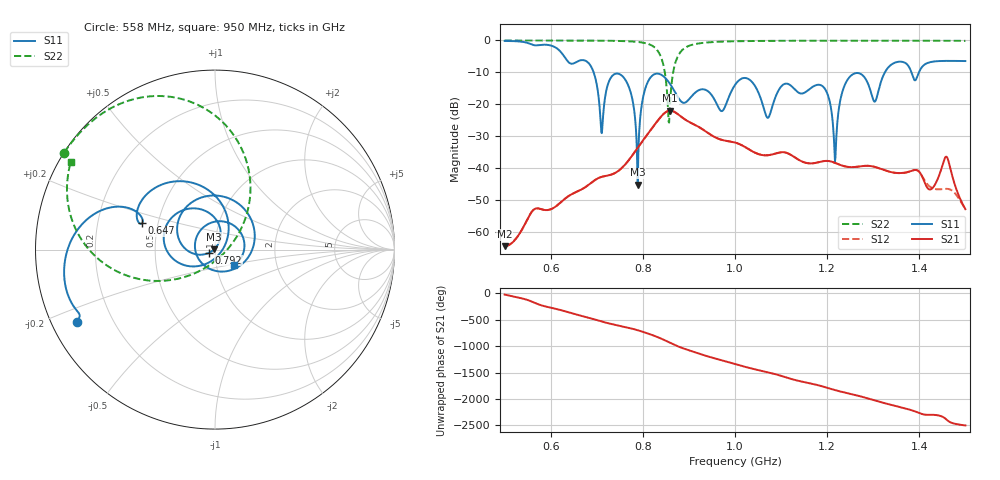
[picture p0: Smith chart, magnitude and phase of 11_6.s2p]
! TOUCHSTONE file generated by CST MICROWAVE STUDIO
! Date and time: Tue Nov 17 07:11:23 2020
! Project name: Scenario_1_Planar_Body_Tissue_Out_of_Line.cst
! Header version: 2018
! Port assignment regex: !\s*Touchstone port\s*([0-9]+)\s*=\s*(CST MWS port|CST DS port)\s*([0-9]+|Zmin|Zmax)\s*\(\"(.*)\"\)(\s*mode\s*([0-9]+))?.*
! Touchstone port assignment:
! Touchstone port 1 = CST MWS port 1 ("")
! Touchstone port 2 = CST MWS port 2 ("")
# GHz S DB R 50
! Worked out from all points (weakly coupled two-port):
!   1003 points, 500 MHz to 1.5 GHz, reference 50 ohm
!   highest |S21| = -22.01 dB at 859 MHz (marker M1); lowest = -64.5 dB at 500 MHz (marker M2)
!   lowest |S11| = -45.2 dB at 789 MHz (marker M3), VSWR 1.01, Z = 49.5 + j0.14 ohm
!   |S11| at or under -10 dB: 693.2 MHz to 1.325 GHz (632.2 MHz wide, 62.6 % of centre); 1.383 GHz to 1.399 GHz (16.4 MHz wide, 1.18 % of centre)
!   |S22| runs from -25.8 to 0.0 dB; largest |S21 - S12| = 0.01
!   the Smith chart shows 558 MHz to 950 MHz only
!   S11 on the Smith chart (normalised r, x): 558 MHz: 0.08, -0.25; 647 MHz: 0.41, +0.15; 792 MHz: 0.94, -0.03; 950 MHz: 1.22, -0.21
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0.5  -0.15 -121.6  -64.54 -21.1  -64.54 -21.1  -0.01 151.1
0.558  -1.24 -152.1  -53.94 -150.9  -53.95 -150.8  -0.01 147.2
0.647  -7.30 160.0  -48.14 -18.4  -48.14 -18.4  -0.03 140.2
0.667  -6.18 148.5  -46.75 -65.6  -46.75 -65.6  -0.04 138.3
0.711  -29.09 -52.5  -42.78 -173.2  -42.78 -173.2  -0.08 133.4
0.761  -12.12 112.9  -39.02 84.9  -39.02 84.9  -0.22 125.1
0.789  -45.23 165.0  -33.64 21.6  -33.64 21.5  -0.47 117.0
0.792  -28.81 -152.1  -33.03 13.6  -33.03 13.6  -0.52 115.8
0.806  -14.76 173.1  -30.23 -25.6  -30.23 -25.6  -0.87 109.0
0.834  -10.44 85.2  -24.85 -115.5  -24.85 -115.6  -3.63 81.8
0.859  -13.64 0.3  -22.01 143.6  -22.01 143.6  -19.97 -113.0
0.881  -18.81 -97.0  -23.70 59.3  -23.69 59.3  -3.77 -175.1
0.95  -17.28 -37.5  -29.84 -137.3  -29.83 -137.2  -0.53 148.6
1  -13.95 59.0  -32.03 102.3  -32.03 102.3  -0.26 140.1
1.071  -24.30 145.8  -36.02 -54.2  -36.01 -54.2  -0.14 132.2
1.167  -14.70 77.4  -38.56 86.6  -38.56 86.6  -0.10 124.1
1.217  -37.98 -138.4  -38.39 -33.1  -38.40 -33.1  -0.09 120.3
1.247  -11.77 55.1  -39.71 -98.2  -39.71 -98.2  -0.09 118.0
1.303  -19.21 12.8  -39.66 131.2  -39.66 131.2  -0.08 113.8
1.334  -8.25 24.9  -41.13 57.0  -41.13 57.0  -0.09 111.5
1.459  -6.42 -32.1  -36.48 127.0  -46.55 132.7  -0.11 101.5
1.5  -6.47 -43.1  -52.93 15.7  -52.93 15.8  -0.13 97.9
